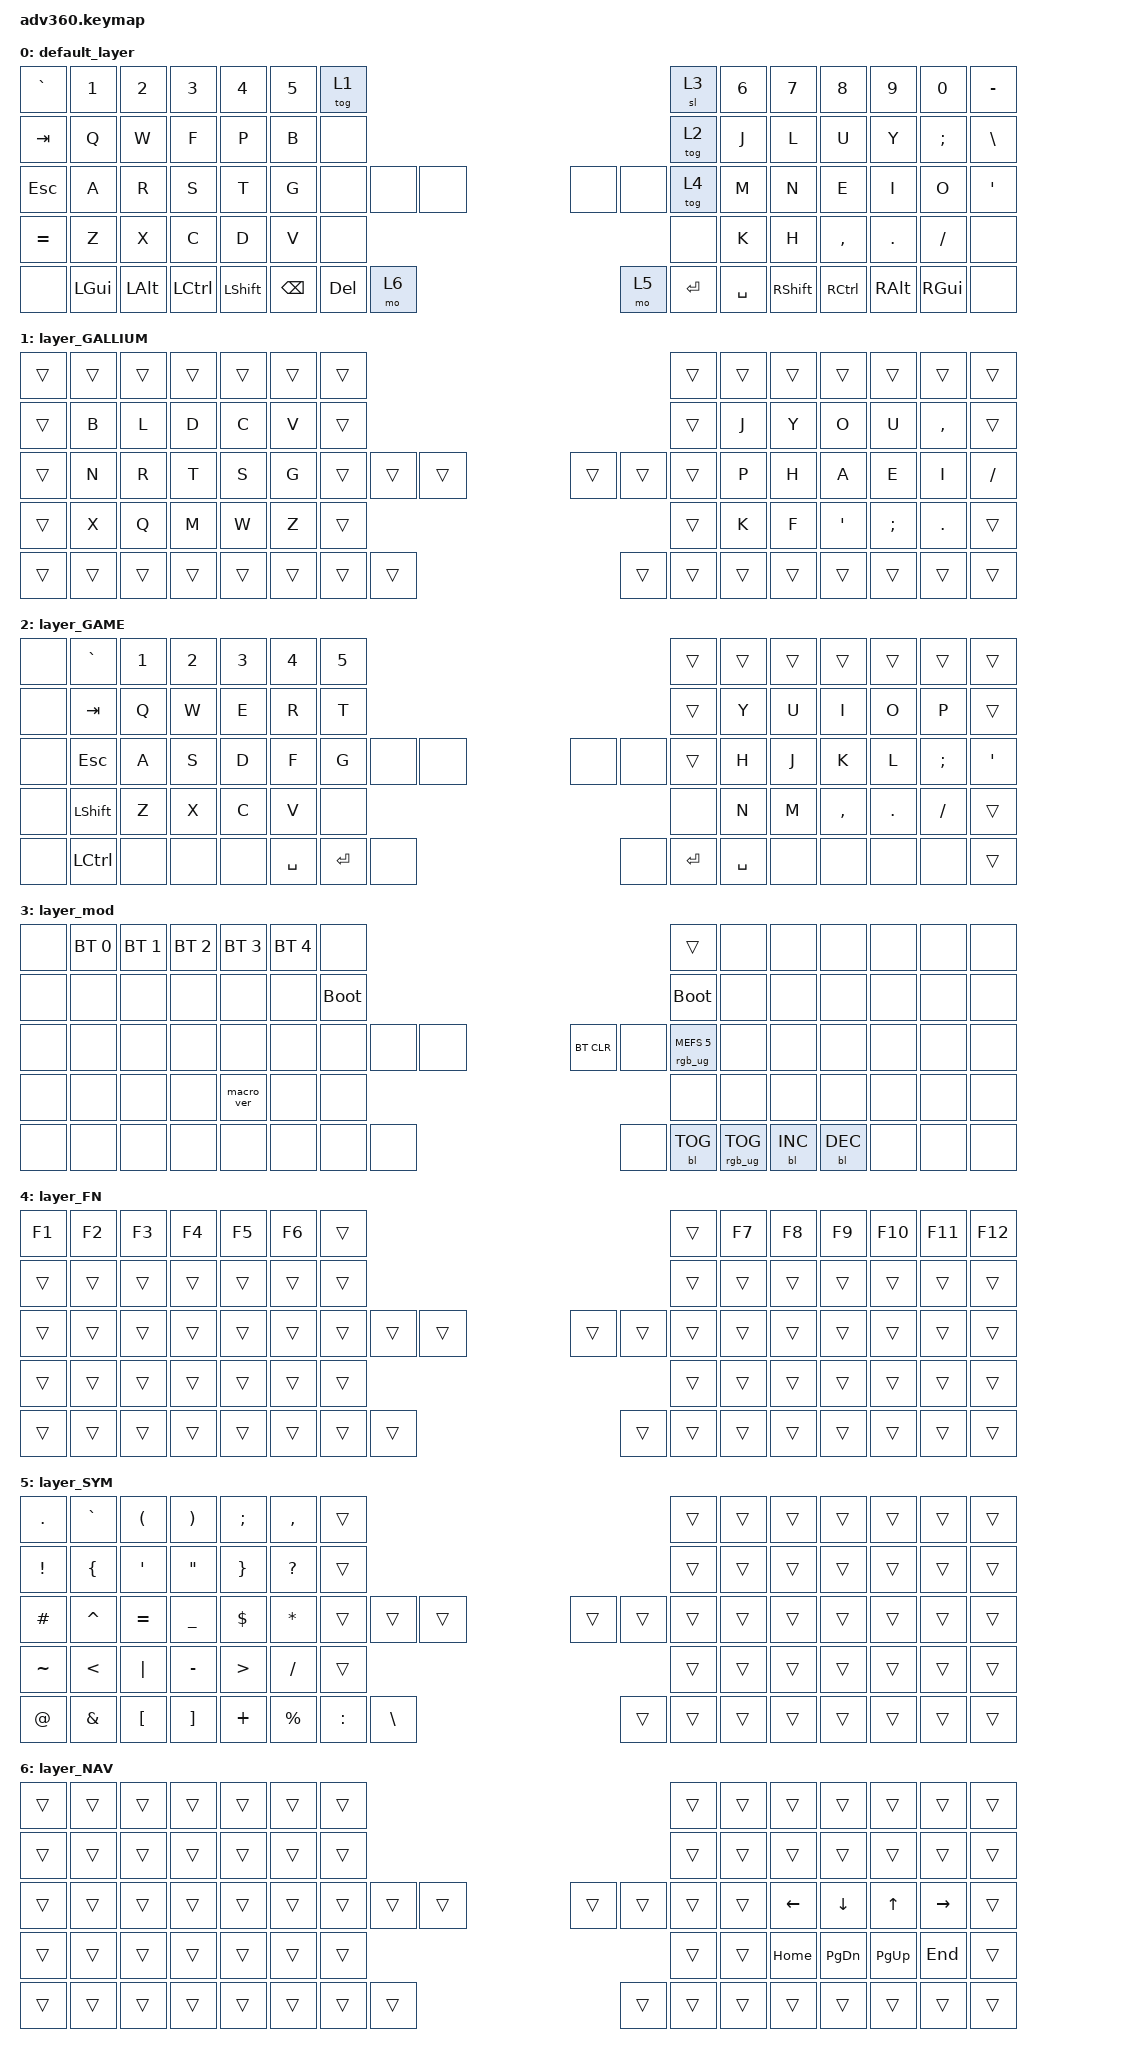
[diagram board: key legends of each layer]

/*
 * Copyright (c) 2020 The ZMK Contributors
 *
 * SPDX-License-Identifier: MIT
 */


/* THIS FILE WAS GENERATED!
 *
 * This file was generated automatically. You may or may not want to
 * edit it directly.
 */

#include <behaviors.dtsi>
#include <dt-bindings/zmk/keys.h>
#include <dt-bindings/zmk/bt.h>
#include <dt-bindings/zmk/rgb.h>
#include <dt-bindings/zmk/backlight.h>

/ {
  behaviors {
    #include "macros.dtsi"
    #include "version.dtsi"

    hm: homerow_mods {
        compatible = "zmk,behavior-hold-tap";
        label = "HOMEROW_MODS";
        #binding-cells = <2>;
        tapping-term-ms = <200>;
        quick_tap_ms = <175>;
        flavor = "tap-preferred";
        bindings = <&kp>, <&kp>;
    };
  };

    keymap {
        compatible = "zmk,keymap";


        default_layer {
            bindings = <
 &kp GRAVE  &kp NUMBER_1        &kp N2     &kp N3      &kp N4  &kp N5              &tog 1                                                          &sl 3  &kp N6      &kp N7     &kp N8    &kp N9    &kp N0  &kp MINUS
   &kp TAB         &kp Q         &kp W      &kp F       &kp P   &kp B               &none                                                         &tog 2   &kp J       &kp L      &kp U     &kp Y  &kp SEMI   &kp BSLH
   &kp ESC         &kp A         &kp R      &kp S       &kp T   &kp G               &none    &none   &none                   &none      &none     &tog 4   &kp M       &kp N      &kp E     &kp I     &kp O    &kp SQT
 &kp EQUAL         &kp Z         &kp X      &kp C       &kp D   &kp V                                &none                   &none                         &kp K       &kp H  &kp COMMA   &kp DOT  &kp FSLH      &none
     &none      &kp LGUI  &kp LEFT_ALT  &kp LCTRL  &kp LSHIFT                    &kp BSPC  &kp DEL   &mo 6                   &mo 5  &kp ENTER  &kp SPACE          &kp RSHIFT  &kp RCTRL  &kp RALT  &kp RGUI      &none
            >;
        };

        layer_GALLIUM {
            bindings = <
 &trans  &trans  &trans  &trans  &trans  &trans            &trans                                                  &trans  &trans  &trans          &trans         &trans      &trans     &trans
 &trans   &kp B   &kp L   &kp D   &kp C   &kp V            &trans                                                  &trans   &kp J   &kp Y           &kp O          &kp U   &kp COMMA     &trans
 &trans   &kp N   &kp R   &kp T   &kp S   &kp G            &trans  &trans  &trans                  &trans  &trans  &trans   &kp P   &kp H           &kp A          &kp E       &kp I  &kp SLASH
 &trans   &kp X   &kp Q   &kp M   &kp W   &kp Z                            &trans                  &trans                   &kp K   &kp F  &kp APOSTROPHE  &kp SEMICOLON  &kp PERIOD     &trans
 &trans  &trans  &trans  &trans  &trans                    &trans  &trans  &trans                  &trans  &trans  &trans          &trans          &trans         &trans      &trans     &trans
            >;
        };

        layer_GAME {
            bindings = <
  &none  &kp GRAVE  &kp NUMBER_1  &kp N2  &kp N3  &kp N4               &kp N5                                                           &trans  &trans  &trans     &trans      &trans     &trans          &trans
  &none    &kp TAB         &kp Q   &kp W   &kp E   &kp R                &kp T                                                           &trans   &kp Y   &kp U      &kp I       &kp O      &kp P          &trans
  &none    &kp ESC         &kp A   &kp S   &kp D   &kp F                &kp G      &none   &none                   &none      &none     &trans   &kp H   &kp J      &kp K       &kp L   &kp SEMI  &kp APOSTROPHE
  &none  &kp LSHFT         &kp Z   &kp X   &kp C   &kp V                                   &none                   &none                         &kp N   &kp M  &kp COMMA  &kp PERIOD  &kp SLASH          &trans
  &none  &kp LCTRL         &none   &none   &none                    &kp SPACE  &kp ENTER   &none                   &none  &kp ENTER  &kp SPACE           &none      &none       &none      &none          &trans
            >;
        };

        layer_mod {
            bindings = <
  &none  &bt BT_SEL 0  &bt BT_SEL 1  &bt BT_SEL 2  &bt BT_SEL 3  &bt BT_SEL 4                  &none                                                                          &trans   &none       &none       &none   &none   &none   &none
  &none         &none         &none         &none         &none         &none            &bootloader                                                                     &bootloader   &none       &none       &none   &none   &none   &none
  &none         &none         &none         &none         &none         &none                  &none   &none   &none                  &bt BT_CLR       &none  &rgb_ug RGB_MEFS_CMD 5   &none       &none       &none   &none   &none   &none
  &none         &none         &none         &none    &macro_ver         &none                                  &none                       &none                                       &none       &none       &none   &none   &none   &none
  &none         &none         &none         &none         &none                                &none   &none   &none                       &none  &bl BL_TOG         &rgb_ug RGB_TOG          &bl BL_INC  &bl BL_DEC   &none   &none   &none
            >;
        };

        layer_FN {
            bindings = <
 &kp F1  &kp F2  &kp F3  &kp F4  &kp F5  &kp F6            &trans                                                  &trans  &kp F7  &kp F8  &kp F9  &kp F10  &kp F11  &kp F12
 &trans  &trans  &trans  &trans  &trans  &trans            &trans                                                  &trans  &trans  &trans  &trans   &trans   &trans   &trans
 &trans  &trans  &trans  &trans  &trans  &trans            &trans  &trans  &trans                  &trans  &trans  &trans  &trans  &trans  &trans   &trans   &trans   &trans
 &trans  &trans  &trans  &trans  &trans  &trans                            &trans                  &trans                  &trans  &trans  &trans   &trans   &trans   &trans
 &trans  &trans  &trans  &trans  &trans                    &trans  &trans  &trans                  &trans  &trans  &trans          &trans  &trans   &trans   &trans   &trans
            >;
        };

        layer_SYM {
            bindings = <
      &kp PERIOD       &kp GRAVE  &kp LEFT_PARENTHESIS  &kp RIGHT_PARENTHESIS     &kp SEMICOLON     &kp COMMA                 &trans                                                            &trans  &trans  &trans  &trans  &trans  &trans  &trans
 &kp EXCLAMATION  &kp LEFT_BRACE        &kp APOSTROPHE      &kp DOUBLE_QUOTES   &kp RIGHT_BRACE  &kp QUESTION                 &trans                                                            &trans  &trans  &trans  &trans  &trans  &trans  &trans
        &kp HASH       &kp CARET             &kp EQUAL         &kp UNDERSCORE        &kp DOLLAR  &kp ASTERISK                 &trans     &trans         &trans                  &trans  &trans  &trans  &trans  &trans  &trans  &trans  &trans  &trans
       &kp TILDE   &kp LESS_THAN              &kp PIPE              &kp MINUS  &kp GREATER_THAN     &kp SLASH                                           &trans                  &trans                  &trans  &trans  &trans  &trans  &trans  &trans
          &kp AT   &kp AMPERSAND      &kp LEFT_BRACKET      &kp RIGHT_BRACKET          &kp PLUS                          &kp PERCENT  &kp COLON  &kp BACKSLASH                  &trans  &trans  &trans          &trans  &trans  &trans  &trans  &trans
            >;
        };

        layer_NAV {
            bindings = <
 &trans  &trans  &trans  &trans  &trans  &trans            &trans                                                  &trans  &trans    &trans         &trans       &trans     &trans  &trans
 &trans  &trans  &trans  &trans  &trans  &trans            &trans                                                  &trans  &trans    &trans         &trans       &trans     &trans  &trans
 &trans  &trans  &trans  &trans  &trans  &trans            &trans  &trans  &trans                  &trans  &trans  &trans  &trans  &kp LEFT       &kp DOWN       &kp UP  &kp RIGHT  &trans
 &trans  &trans  &trans  &trans  &trans  &trans                            &trans                  &trans                  &trans  &kp HOME  &kp PAGE_DOWN  &kp PAGE_UP    &kp END  &trans
 &trans  &trans  &trans  &trans  &trans                    &trans  &trans  &trans                  &trans  &trans  &trans            &trans         &trans       &trans     &trans  &trans
            >;
        };

    };
};
